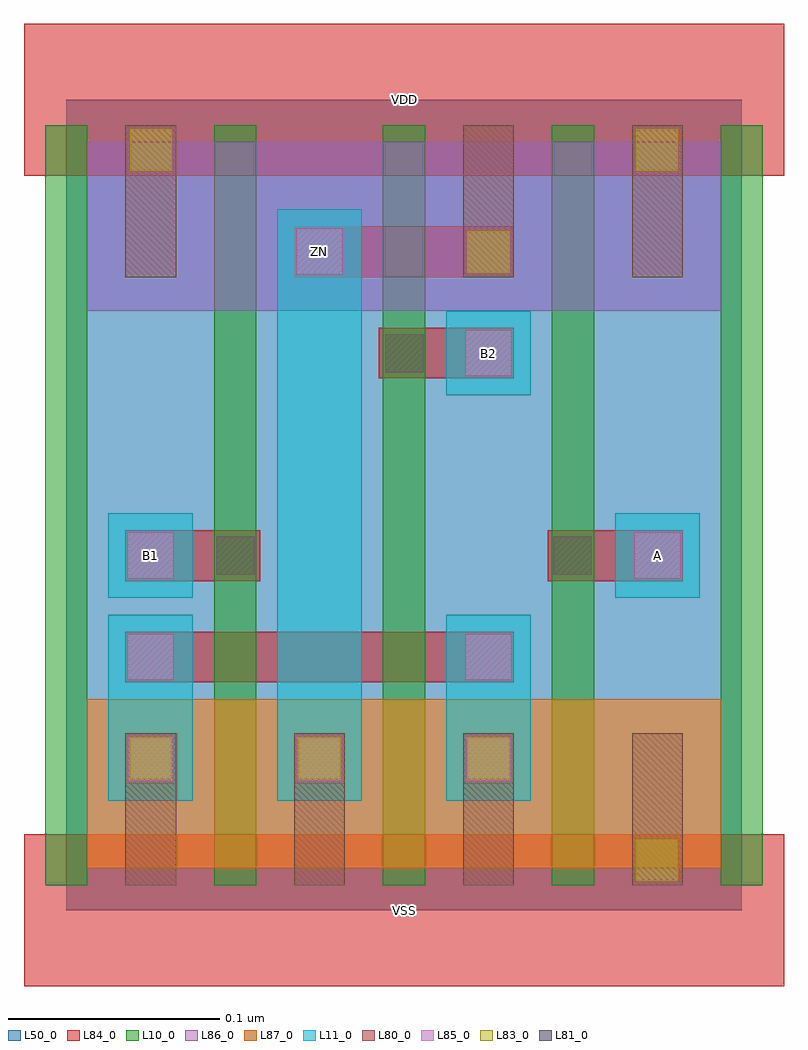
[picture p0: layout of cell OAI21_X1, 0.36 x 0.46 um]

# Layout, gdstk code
import gdstk
lib = gdstk.Library(unit=1e-6, precision=1e-09)
def R(c, l, rs):  # rectangles x0, y0, x1, y1
    for r in rs: c.add(gdstk.rectangle(r[:2], r[2:], *l))
def A(c, l, x, y, w, h, nx, ny, dx, dy):  # array of equal rectangles
    R(c, l, [(x+i*dx, y+j*dy, x+i*dx+w, y+j*dy+h) for i in range(nx) for j in range(ny)])
L10_0 = (10, 0)
L11_0 = (11, 0)
L50_0 = (50, 0)
L80_0 = (80, 0)
L81_0 = (81, 0)
L83_0 = (83, 0)
L84_0 = (84, 0)
L85_0 = (85, 0)
L86_0 = (86, 0)
L87_0 = (87, 0)

oai21_x1 = lib.new_cell('OAI21_X1')
A(oai21_x1, L10_0, -0.01, 0.012, 0.02, 0.36, 5, 1, 0.08, 0)
R(oai21_x1, L11_0, [(0.02,0.052,0.06,0.14), (0.1,0.052,0.14,0.332), (0.18,0.052,0.22,0.14), (0.02,0.148,0.06,0.188), (0.26,0.148,0.3,0.188), (0.18,0.244,0.22,0.284)])
R(oai21_x1, L50_0, [(0,0,0.32,0.384)])
A(oai21_x1, L80_0, 0.028, 0.012, 0.024, 0.072, 4, 1, 0.08, 0)
R(oai21_x1, L80_0, [(0.028,0.3,0.052,0.372), (0.188,0.3,0.212,0.372), (0.268,0.3,0.292,0.372)])
R(oai21_x1, L81_0, [(0.071,0.159,0.089,0.177), (0.231,0.159,0.249,0.177), (0.151,0.255,0.169,0.273)])
A(oai21_x1, L83_0, 0.03, 0.062, 0.02, 0.02, 3, 1, 0.08, 0)
R(oai21_x1, L83_0, [(0.27,0.014,0.29,0.034), (0.19,0.302,0.21,0.322), (0.03,0.35,0.05,0.37), (0.27,0.35,0.29,0.37)])
A(oai21_x1, L84_0, 0.028, 0.06, 0.024, 0.024, 3, 1, 0.08, 0)
R(oai21_x1, L84_0, [(-0.02,-0.036,0.34,0.036), (0.028,0.108,0.212,0.132), (0.028,0.156,0.092,0.18), (0.228,0.156,0.292,0.18), (0.148,0.252,0.212,0.276), (0.108,0.3,0.212,0.324), (-0.02,0.348,0.34,0.42)])
A(oai21_x1, L85_0, 0.029, 0.061, 0.022, 0.022, 3, 1, 0.08, 0)
R(oai21_x1, L85_0, [(0.029,0.109,0.051,0.131), (0.189,0.109,0.211,0.131), (0.029,0.157,0.051,0.179), (0.269,0.157,0.291,0.179), (0.189,0.253,0.211,0.275), (0.109,0.301,0.131,0.323)])
R(oai21_x1, L86_0, [(0.01,0.284,0.31,0.364)])
R(oai21_x1, L87_0, [(0.01,0.02,0.31,0.1)])
oai21_x1.add(gdstk.Label('VDD', (0.16,0.384), layer=88, texttype=0))
oai21_x1.add(gdstk.Label('VSS', (0.16,0), layer=88, texttype=0))
oai21_x1.add(gdstk.Label('ZN', (0.12,0.312), layer=31, texttype=0))
oai21_x1.add(gdstk.Label('B1', (0.04,0.168), layer=31, texttype=0))
oai21_x1.add(gdstk.Label('B2', (0.2,0.264), layer=31, texttype=0))
oai21_x1.add(gdstk.Label('A', (0.28,0.168), layer=31, texttype=0))

lib.write_gds('OAI21_X1.gds')
